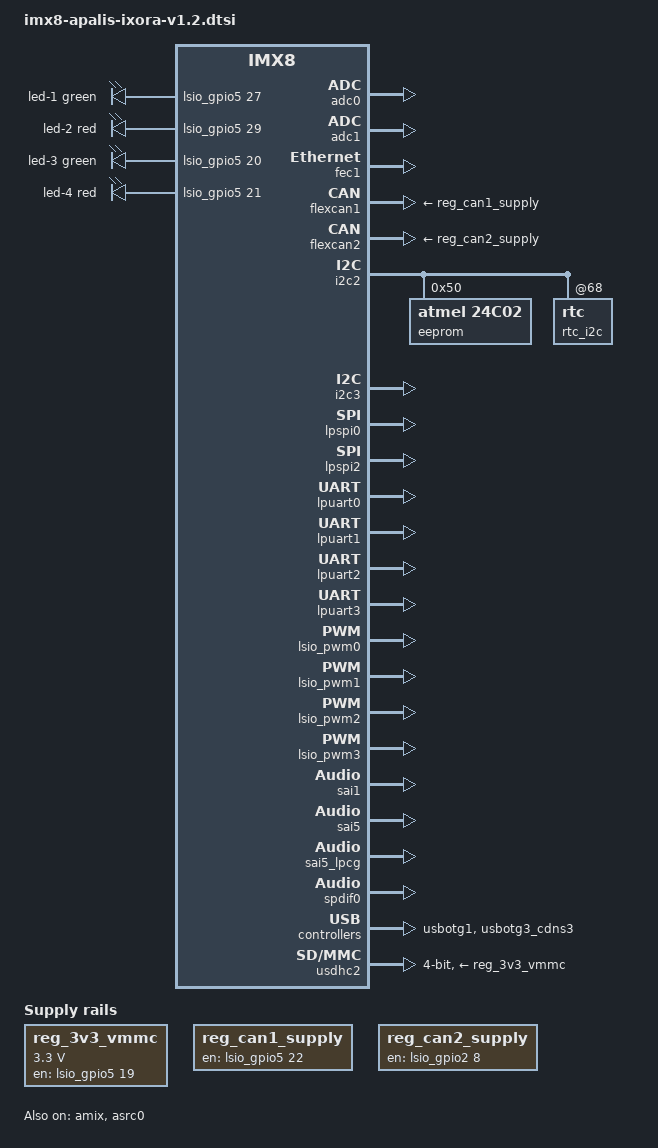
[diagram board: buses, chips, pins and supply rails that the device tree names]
// SPDX-License-Identifier: GPL-2.0-or-later OR MIT
/*
 * Copyright 2022 Toradex
 */

#include <dt-bindings/leds/common.h>

/ {
	aliases {
		rtc0 = &rtc_i2c;
		rtc1 = &rtc;
	};

	leds {
		compatible = "gpio-leds";
		pinctrl-names = "default";
		pinctrl-0 = <&pinctrl_leds_ixora>;

		/* LED_4_GREEN / MXM3_188 */
		led-1 {
			color = <LED_COLOR_ID_GREEN>;
			default-state = "off";
			function = LED_FUNCTION_STATUS;
			gpios = <&lsio_gpio5 27 GPIO_ACTIVE_HIGH>;
		};

		/* LED_4_RED / MXM3_178 */
		led-2 {
			color = <LED_COLOR_ID_RED>;
			default-state = "off";
			function = LED_FUNCTION_STATUS;
			gpios = <&lsio_gpio5 29 GPIO_ACTIVE_HIGH>;
		};

		/* LED_5_GREEN / MXM3_152 */
		led-3 {
			color = <LED_COLOR_ID_GREEN>;
			default-state = "off";
			function = LED_FUNCTION_STATUS;
			gpios = <&lsio_gpio5 20 GPIO_ACTIVE_HIGH>;
		};

		/* LED_5_RED / MXM3_156 */
		led-4 {
			color = <LED_COLOR_ID_RED>;
			default-state = "off";
			function = LED_FUNCTION_STATUS;
			gpios = <&lsio_gpio5 21 GPIO_ACTIVE_HIGH>;
		};
	};

	reg_3v3_vmmc: regulator-3v3-vmmc {
		compatible = "regulator-fixed";
		pinctrl-names = "default";
		pinctrl-0 = <&pinctrl_enable_3v3_vmmc>;
		/* MMC1_PWR_CTRL */
		gpio = <&lsio_gpio5 19 GPIO_ACTIVE_HIGH>;
		enable-active-high;
		regulator-max-microvolt = <3300000>;
		regulator-min-microvolt = <3300000>;
		regulator-name = "3v3_vmmc";
	};

	reg_can1_supply: regulator-can1-supply {
		compatible = "regulator-fixed";
		pinctrl-names = "default";
		pinctrl-0 = <&pinctrl_enable_can1_power>;
		gpio = <&lsio_gpio5 22 GPIO_ACTIVE_HIGH>;
		enable-active-high;
		regulator-name = "can1_supply";
		startup-delay-us = <1000>;
	};

	reg_can2_supply: regulator-can2-supply {
		compatible = "regulator-fixed";
		pinctrl-names = "default";
		pinctrl-0 = <&pinctrl_sata1_act>;
		gpio = <&lsio_gpio2 8 GPIO_ACTIVE_HIGH>;
		enable-active-high;
		regulator-name = "can2_supply";
		startup-delay-us = <1000>;
	};

	reg_usb_host_vbus: regulator-usb-host-vbus {
		regulator-name = "VCC_USBH(2|4)";
	};
};

&adc0 {
	status = "okay";
};

&adc1 {
	status = "okay";
};

&amix {
	status = "okay";
};

&asrc0 {
	status = "okay";
};

/* TODO: Display Controller */

/* TODO: DPU */

/* Apalis ETH1 */
&fec1 {
	status = "okay";
};

/* Apalis CAN1 */
&flexcan1 {
	xceiver-supply = <&reg_can1_supply>;
	status = "okay";
};

/* Apalis CAN2 */
&flexcan2 {
	xceiver-supply = <&reg_can2_supply>;
	status = "okay";
};

/* TODO: GPU */

/* Apalis I2C1 */
&i2c2 {
	status = "okay";

	eeprom: eeprom@50 {
		compatible = "atmel,24c02";
		reg = <0x50>;
		pagesize = <16>;
	};

	/* M41T0M6 real time clock on carrier board */
	rtc_i2c: rtc@68 {
		status = "okay";
	};
};

/* Apalis I2C3 (CAM) */
&i2c3 {
	status = "okay";
};

&iomuxc {
	pinctrl-0 = <&pinctrl_cam1_gpios>, <&pinctrl_dap1_gpios>,
		    <&pinctrl_esai0_gpios>, <&pinctrl_fec2_gpios>,
		    <&pinctrl_gpio3>, <&pinctrl_gpio4>, <&pinctrl_gpio_usbh_oc_n>,
		    <&pinctrl_lpuart1ctrl>, <&pinctrl_lvds0_i2c0_gpio>,
		    <&pinctrl_lvds1_i2c0_gpios>, <&pinctrl_mipi_dsi_0_1_en>,
		    <&pinctrl_mipi_dsi1_gpios>, <&pinctrl_mlb_gpios>,
		    <&pinctrl_qspi1a_gpios>, <&pinctrl_sim0_gpios>,
		    <&pinctrl_uart24_forceoff>, <&pinctrl_usdhc1_gpios>;

	/* PMIC MMC1 power-switch */
	pinctrl_enable_3v3_vmmc: enable3v3vmmcgrp {
		fsl,pins = <IMX8QM_USDHC1_DATA4_LSIO_GPIO5_IO19	0x00000021>; /* MXM3_148, PMIC */
	};

	/* FlexCAN PMIC */
	pinctrl_enable_can1_power: enablecan1powergrp {
		fsl,pins = <IMX8QM_USDHC1_DATA7_LSIO_GPIO5_IO22	0x00000021>; /* MXM3_158, PMIC */
	};

	pinctrl_leds_ixora: ledsixoragrp {
		fsl,pins = <IMX8QM_USDHC2_DATA1_LSIO_GPIO5_IO27	0x06000061>, /* LED_4_GREEN */
			   <IMX8QM_USDHC2_DATA3_LSIO_GPIO5_IO29	0x06000061>, /* LED_4_RED */
			   <IMX8QM_USDHC1_DATA5_LSIO_GPIO5_IO20	0x06000061>, /* LED_5_GREEN */
			   <IMX8QM_USDHC1_DATA6_LSIO_GPIO5_IO21	0x06000061>; /* LED_5_RED */
	};

	pinctrl_uart24_forceoff: uart24forceoffgrp {
		fsl,pins = <IMX8QM_USDHC2_CMD_LSIO_GPIO5_IO25		0x00000021>;
	};
};

/* Apalis SPI1 */
&lpspi0 {
	status = "okay";
};

/* Apalis SPI2 */
&lpspi2 {
	status = "okay";
};

/* Apalis UART3 */
&lpuart0 {
	status = "okay";
};

/* Apalis UART1 */
&lpuart1 {
	status = "okay";
};

/* Apalis UART4 */
&lpuart2 {
	status = "okay";
};

/* Apalis UART2 */
&lpuart3 {
	status = "okay";
};

&lsio_gpio5 {
	gpio-line-names = "gpio5-00", "gpio5-01", "gpio5-02", "gpio5-03",
			  "gpio5-04", "gpio5-05", "gpio5-06", "gpio5-07",
			  "gpio5-08", "gpio5-09", "gpio5-10", "gpio5-11",
			  "gpio5-12", "gpio5-13", "gpio5-14", "gpio5-15",
			  "gpio5-16", "gpio5-17", "gpio5-18", "gpio5-19",
			  "LED-5-GREEN", "LED-5-RED", "gpio5-22", "gpio5-23",
			  "gpio5-24", "UART24-FORCEOFF", "gpio5-26",
			  "LED-4-GREEN", "gpio5-28", "LED-4-RED", "gpio5-30",
			  "gpio5-31";
};

/* Apalis PWM3, MXM3 pin 6 */
&lsio_pwm0 {
	status = "okay";
};

/* Apalis PWM4, MXM3 pin 8 */
&lsio_pwm1 {
	status = "okay";
};

/* Apalis PWM1, MXM3 pin 2 */
&lsio_pwm2 {
	status = "okay";
};

/* Apalis PWM2, MXM3 pin 4 */
&lsio_pwm3 {
	status = "okay";
};

/* TODO: Apalis PCIE1 */

/* TODO: Apalis BKL1_PWM */

/* Apalis DAP1 */
&sai1 {
	status = "okay";
};

&sai5 {
	status = "okay";
};

&sai5_lpcg {
	status = "okay";
};

/* TODO: Apalis SATA1 */

/* Apalis SPDIF1 */
&spdif0 {
	status = "okay";
};

/* TODO: Apalis USBH2, Apalis USBH3 and on-module Wi-Fi via on-module HSIC Hub */

/* Apalis USBO1 */
&usbotg1 {
	status = "okay";
};

/* Apalis USBH4 SuperSpeed */
&usbotg3_cdns3 {
	status = "okay";
};

/* Apalis MMC1 */
&usdhc2 {
	pinctrl-0 = <&pinctrl_usdhc2_4bit>, <&pinctrl_mmc1_cd>;
	pinctrl-1 = <&pinctrl_usdhc2_4bit_100mhz>, <&pinctrl_mmc1_cd>;
	pinctrl-2 = <&pinctrl_usdhc2_4bit_200mhz>, <&pinctrl_mmc1_cd>;
	pinctrl-3 = <&pinctrl_usdhc2_4bit_sleep>, <&pinctrl_mmc1_cd_sleep>;
	bus-width = <4>;
	cap-power-off-card;
	/delete-property/ no-1-8-v;
	vmmc-supply = <&reg_3v3_vmmc>;
	status = "okay";
};
